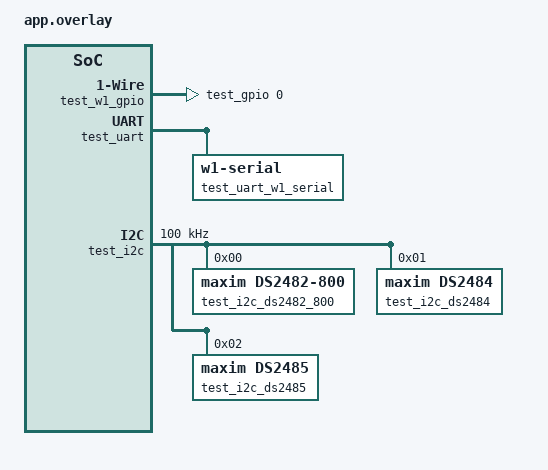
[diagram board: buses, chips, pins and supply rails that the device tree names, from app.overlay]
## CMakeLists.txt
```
# Copyright (c) 2023 Hudson C. Dalpra
# SPDX-License-Identifier: Apache-2.0

cmake_minimum_required(VERSION 3.28.0)
find_package(Zephyr REQUIRED HINTS $ENV{ZEPHYR_BASE})
project(build_all)

FILE(GLOB app_sources src/*.c)
target_sources(app PRIVATE ${app_sources})
```

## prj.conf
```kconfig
# Copyright (c) 2023 Hudson C. Dalpra
# SPDX-License-Identifier: Apache-2.0

CONFIG_TEST=y
CONFIG_TEST_USERSPACE=y
CONFIG_GPIO=y
CONFIG_W1=y
```

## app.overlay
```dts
/*
 * Copyright (c) 2023 Hudson C. Dalpra
 *
 * SPDX-License-Identifier: Apache-2.0
 *
 * Application overlay for testing driver builds
 *
 * Names in this file should be chosen in a way that won't conflict
 * with real-world devicetree nodes, to allow these tests to run on
 * (and be extended to test) real hardware.
 */

/ {
	test {
		#address-cells = <1>;
		#size-cells = <1>;

		test_gpio: gpio@deadbeef {
			compatible = "vnd,gpio";
			reg = <0xdeadbeef 0x1000>;
			gpio-controller;
			#gpio-cells = <0x2>;
			status = "okay";
		};

		test_w1_gpio: test_w1_gpio {
			compatible = "zephyr,w1-gpio";
			gpios = <&test_gpio 0 0>;
		};

		test_uart: uart@55556666 {
			compatible = "vnd,serial";
			reg = <0x55556666 0x1000>;

			#address-cells = <1>;
			#size-cells = <0>;
			status = "okay";

			test_uart_w1_serial: w1_serial {
				compatible = "zephyr,w1-serial";
			};
		};

		test_i2c: i2c@11112222 {
			compatible = "vnd,i2c";
			reg = <0x11112222 0x1000>;
			#address-cells = <1>;
			#size-cells = <0>;
			clock-frequency = <100000>;
			status = "okay";

			test_i2c_ds2482_800: ds2482-800@0 {
				compatible = "maxim,ds2482-800";
				reg = <0x0>;

				#address-cells = <1>;
				#size-cells = <0>;

				w1_0: ch@0 {
					compatible = "maxim,ds2482-800-channel";
					reg = <0>;
				};
			};

			test_i2c_ds2484: ds2484@1 {
				compatible = "maxim,ds2484";
				reg = <0x1>;
			};

			test_i2c_ds2485: ds2485@2 {
				compatible = "maxim,ds2485";
				reg = <0x2>;

				switching-threshold = "low";
				active-pull-threshold = "low";
				weak-pullup = "1000";
			};
		};
	};
};
```

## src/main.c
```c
/*
 * Copyright (c) 2023 Hudson C. Dalpra
 *
 * SPDX-License-Identifier: Apache-2.0
 */

int main(void)
{
	return 0;
}
```
